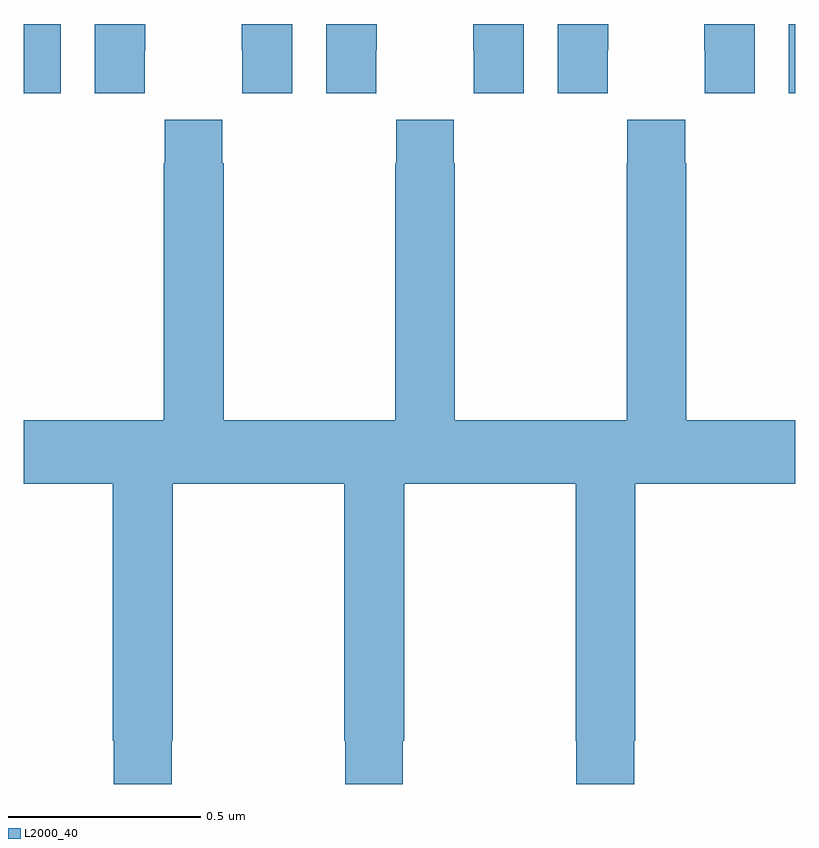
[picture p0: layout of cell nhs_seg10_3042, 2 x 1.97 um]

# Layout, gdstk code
import gdstk
lib = gdstk.Library(unit=1e-6, precision=1e-09)
def R(c, l, rs):  # rectangles x0, y0, x1, y1
    for r in rs: c.add(gdstk.rectangle(r[:2], r[2:], *l))
def P(c, l, *ps):  # polygons
    for p in ps: c.add(gdstk.Polygon(p, *l))
L2000_40 = (2000, 40)

nhs_seg10_3042 = lib.new_cell('nhs_seg10_3042')
R(nhs_seg10_3042, L2000_40, [(148,1309.32,148.096,1309.5), (149.984,1309.32,150,1309.5)])
P(nhs_seg10_3042, L2000_40, [(148.314,1309.432),(148.315,1309.432),(148.315,1309.5),(148.184,1309.5),(148.184,1309.32),(148.314,1309.32)],
  [(148.696,1309.5),(148.565,1309.5),(148.565,1309.432),(148.566,1309.432),(148.566,1309.32),(148.696,1309.32)],
  [(148.914,1309.432),(148.915,1309.432),(148.915,1309.5),(148.784,1309.5),(148.784,1309.32),(148.914,1309.32)],
  [(149.296,1309.5),(149.165,1309.5),(149.165,1309.432),(149.166,1309.432),(149.166,1309.32),(149.296,1309.32)],
  [(149.514,1309.432),(149.515,1309.432),(149.515,1309.5),(149.384,1309.5),(149.384,1309.32),(149.514,1309.32)],
  [(149.896,1309.5),(149.765,1309.5),(149.765,1309.432),(149.766,1309.432),(149.766,1309.32),(149.896,1309.32)],
  [(148.383,1307.641),(148.386,1307.641),(148.386,1308.308),(148.831,1308.308),(148.831,1307.641),(148.833,1307.641),(148.833,1307.529),(148.983,1307.529),(148.983,1307.641),(148.986,1307.641),(148.986,1308.308),(149.431,1308.308),(149.431,1307.641),(149.433,1307.641),(149.433,1307.529),(149.583,1307.529),(149.583,1307.641),(149.586,1307.641),(149.586,1308.308),(150,1308.308),(150,1308.472),(149.718,1308.472),(149.718,1309.139),(149.715,1309.139),(149.715,1309.252),(149.565,1309.252),(149.565,1309.139),(149.563,1309.139),(149.563,1308.472),(149.118,1308.472),(149.118,1309.139),(149.115,1309.139),(149.115,1309.252),(148.965,1309.252),(148.965,1309.139),(148.963,1309.139),(148.963,1308.472),(148.518,1308.472),(148.518,1309.139),(148.515,1309.139),(148.515,1309.252),(148.365,1309.252),(148.365,1309.139),(148.363,1309.139),(148.363,1308.472),(148,1308.472),(148,1308.308),(148.231,1308.308),(148.231,1307.641),(148.233,1307.641),(148.233,1307.529),(148.383,1307.529)])

lib.write_gds('nhs_seg10_3042.gds')
